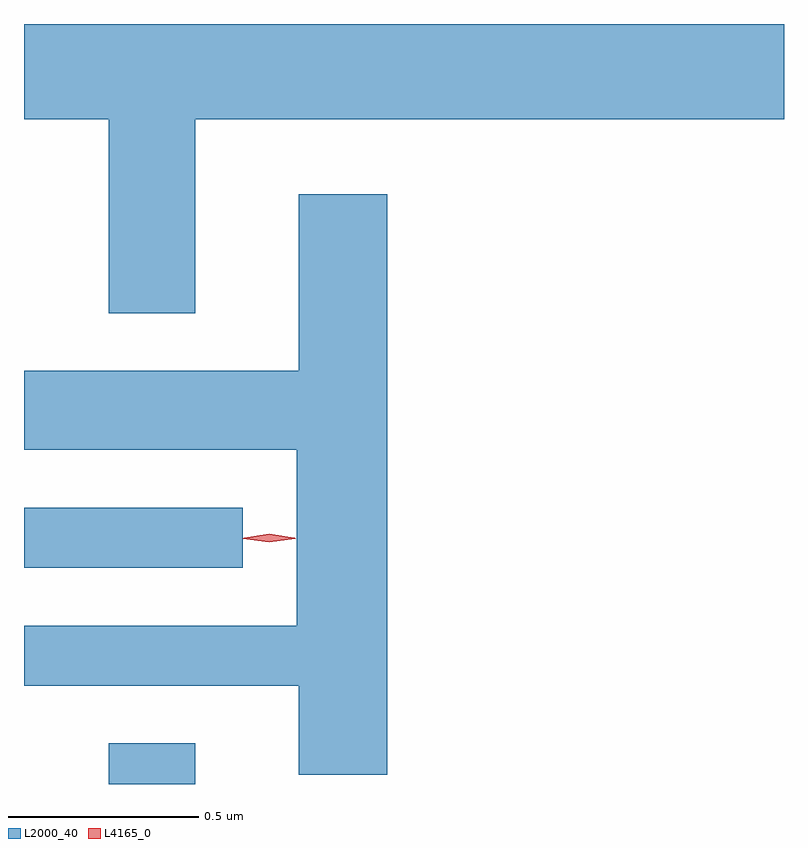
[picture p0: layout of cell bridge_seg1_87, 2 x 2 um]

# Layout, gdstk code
import gdstk
lib = gdstk.Library(unit=1e-6, precision=1e-09)
def R(c, l, rs):  # rectangles x0, y0, x1, y1
    for r in rs: c.add(gdstk.rectangle(r[:2], r[2:], *l))
def P(c, l, *ps):  # polygons
    for p in ps: c.add(gdstk.Polygon(p, *l))
L2000_40 = (2000, 40)
L4165_0 = (4165, 0)

bridge_seg1_87 = lib.new_cell('bridge_seg1_87')
R(bridge_seg1_87, L2000_40, [(1201.551,971.087,1201.779,971.194), (1201.328,971.656,1201.903,971.814)])
P(bridge_seg1_87, L2000_40, [(1201.779,972.836),(1203.328,972.836),(1203.328,973.087),(1201.328,973.087),(1201.328,972.836),(1201.551,972.836),(1201.551,972.326),(1201.779,972.326)],
  [(1202.284,972.639),(1202.051,972.639),(1202.051,972.174),(1201.328,972.174),(1201.328,971.966),(1202.046,971.966),(1202.046,971.504),(1201.328,971.504),(1201.328,971.346),(1202.051,971.346),(1202.051,971.111),(1202.284,971.111)])
P(bridge_seg1_87, L4165_0, [(1201.973,971.723),(1201.904,971.733),(1201.904,971.733),(1201.904,971.734),(1201.973,971.743),(1202.042,971.734),(1202.043,971.733),(1202.042,971.733)],
  [(1201.973,971.725),(1201.908,971.734),(1201.907,971.735),(1201.908,971.735),(1201.973,971.745),(1202.039,971.735),(1202.04,971.735),(1202.039,971.734)])

lib.write_gds('bridge_seg1_87.gds')
